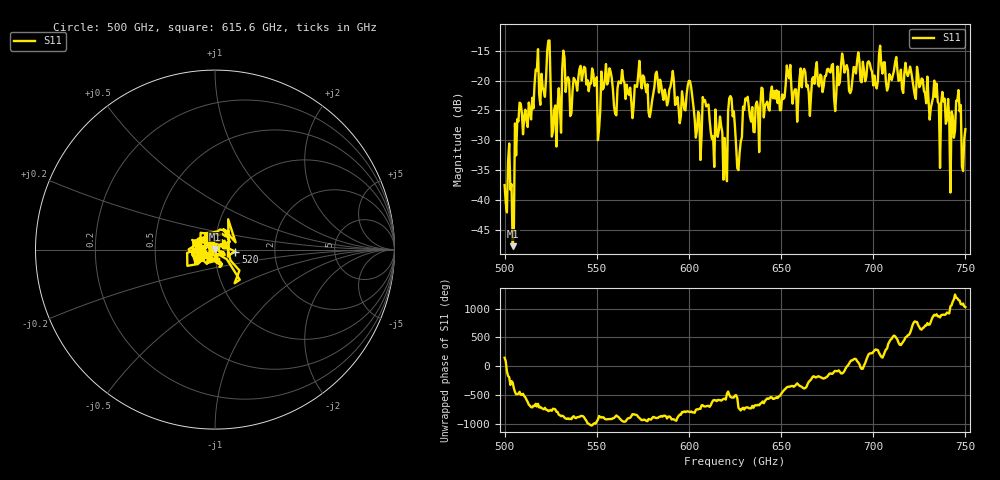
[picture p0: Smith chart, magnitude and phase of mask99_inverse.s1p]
!Created with skrf (http://scikit-rf.org).
# GHz S MA R 50.0
!freq magS11 angS11
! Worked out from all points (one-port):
!   401 points, 500 GHz to 750 GHz, reference 50 ohm
!   lowest |S11| = -47.8 dB at 504.4 GHz (marker M1), VSWR 1.01, Z = 50.1 + j0.399 ohm
!   |S11| at or under -10 dB: start of sweep to end of sweep
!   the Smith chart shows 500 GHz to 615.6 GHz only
!   S11 on the Smith chart (normalised r, x): 500 GHz: 0.98, +0.01; 520 GHz: 1.26, -0.03; 615.6 GHz: 0.95, +0.05
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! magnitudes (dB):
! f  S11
! 500 GHz  -37.5
! 504.4 GHz  -47.8
! 508.1 GHz  -23.7
! 520 GHz  -18.8
! 523.8 GHz  -13.3
! 526.9 GHz  -24.9
! 531.2 GHz  -18.0
! 548.8 GHz  -20.9
! 551.9 GHz  -25.1
! 553.8 GHz  -21.2
! 562.5 GHz  -20.3
! 593.8 GHz  -22.7
! 600 GHz  -20.0
! 605 GHz  -25.2
! 608.8 GHz  -23.3
! 612.5 GHz  -29.8
! 615.6 GHz  -29.4
! 619.4 GHz  -29.6
! 622.5 GHz  -22.6
! 625 GHz  -27.8
! 626.9 GHz  -35.0
! 630.6 GHz  -23.0
! 656.2 GHz  -23.9
! 687.5 GHz  -22.1
! 718.8 GHz  -19.2
! 743.1 GHz  -25.9
! 746.2 GHz  -21.6
! 750 GHz  -28.1
